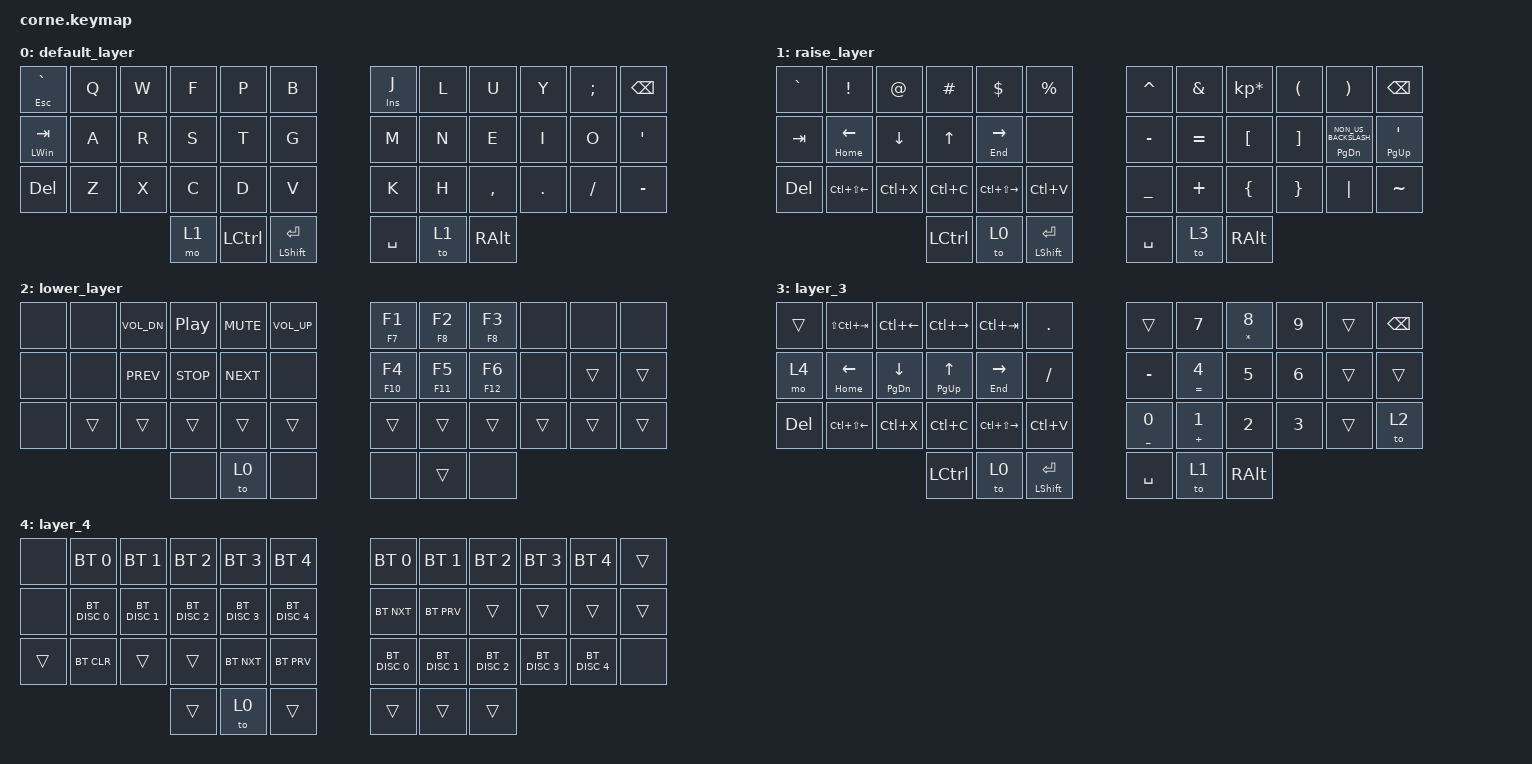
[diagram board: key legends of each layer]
/*
 * Copyright (c) 2020 The ZMK Contributors
 *
 * SPDX-License-Identifier: MIT
 */

#include <behaviors.dtsi>
#include <dt-bindings/zmk/bt.h>
#include <dt-bindings/zmk/keys.h>

&mt { flavor = "tap-preferred"; };

/ {
    behaviors {
        td: td {
            compatible = "zmk,behavior-hold-tap";
            label = "TAPDANCE";
            bindings = <&kp>, <&kp>;

            #binding-cells = <2>;
            tapping-term-ms = <150>;
            flavor = "tap-preferred";
            quick-tap-ms = <0>;
        };
    };

    keymap {
        compatible = "zmk,keymap";

        default_layer {
            // -----------------------------------------------------------------------------------------
            // |  TAB |  Q  |  W  |  E  |  R  |  T  |   |  Y  |  U   |  I  |  O  |  P  | BKSP |
            // | CTRL |  A  |  S  |  D  |  F  |  G  |   |  H  |  J   |  K  |  L  |  ;  |  '   |
            // | SHFT |  Z  |  X  |  C  |  V  |  B  |   |  N  |  M   |  ,  |  .  |  /  | ESC  |
            //                    | GUI | LWR | SPC |   | ENT | RSE  | ALT |

            bindings = <
&mt ESCAPE GRAVE  &kp Q  &kp W  &kp F  &kp P      &kp B               &mt INS J  &kp L  &kp U      &kp Y    &kp SEMICOLON  &kp BSPC
&mt LEFT_WIN TAB  &kp A  &kp R  &kp S  &kp T      &kp G               &kp M      &kp N  &kp E      &kp I    &kp O          &kp SQT
&kp DELETE        &kp Z  &kp X  &kp C  &kp D      &kp V               &kp K      &kp H  &kp COMMA  &kp DOT  &kp FSLH       &kp MINUS
                                &mo 1  &kp LCTRL  &mt LSHIFT ENTER    &kp SPACE  &to 1  &kp RALT
            >;
        };

        raise_layer {
            // -----------------------------------------------------------------------------------------
            // |  TAB |  !  |  @  |  #  |  $  |  %  |   |  ^  |  &  |  *  |  (  |  )  | BKSP |
            // | CTRL |     |     |     |     |     |   |  -  |  =  |  [  |  ]  |  \  |  `   |
            // | SHFT |     |     |     |     |     |   |  _  |  +  |  {  |  }  | "|" |  ~   |
            //                    | GUI |     | SPC |   | ENT |     | ALT |

            bindings = <
&kp GRAVE   &kp EXCL             &kp AT          &kp HASH      &kp DLLR           &kp PRCNT               &kp CARET  &kp AMPS   &kp KP_MULTIPLY  &kp LPAR  &kp RPAR                        &kp BSPC
&kp TAB     &mt HOME LEFT_ARROW  &kp DOWN_ARROW  &kp UP_ARROW  &mt END RIGHT      &none                   &kp MINUS  &kp EQUAL  &kp LBKT         &kp RBKT  &mt PAGE_DOWN NON_US_BACKSLASH  &mt PAGE_UP SINGLE_QUOTE
&kp DELETE  &kp LC(LS(LEFT))     &kp LC(X)       &kp LC(C)     &kp LC(LS(RIGHT))  &kp LC(V)               &kp UNDER  &kp PLUS   &kp LBRC         &kp RBRC  &kp PIPE                        &kp TILDE
                                                 &kp LCTRL     &to 0              &mt LEFT_SHIFT ENTER    &kp SPACE  &to 3      &kp RALT
            >;
        };

        lower_layer {
            // -----------------------------------------------------------------------------------------
            // |  TAB |  1  |  2  |  3  |  4  |  5  |   |  6  |  7  |  8  |  9  |  0  | BKSP |
            // | BTCLR| BT1 | BT2 | BT3 | BT4 | BT5 |   | LFT | DWN |  UP | RGT |     |      |
            // | SHFT |     |     |     |     |     |   |     |     |     |     |     |      |
            //                    | GUI |     | SPC |   | ENT |     | ALT |

            bindings = <
&none  &none   &kp C_VOL_DN  &kp C_PP    &kp C_MUTE  &kp C_VOL_UP    &mt F7 F1   &mt F8 F2   &mt F8 F3   &none   &none   &none
&none  &none   &kp C_PREV    &kp C_STOP  &kp C_NEXT  &none           &mt F10 F4  &mt F11 F5  &mt F12 F6  &none   &trans  &trans
&none  &trans  &trans        &trans      &trans      &trans          &trans      &trans      &trans      &trans  &trans  &trans
                             &none       &to 0       &none           &none       &trans      &none
            >;
        };

        layer_3 {
            bindings = <
&trans      &kp LS(LC(TAB))         &kp LC(LEFT)              &kp LC(RIGHT)         &kp LC(TAB)        &kp PERIOD              &trans        &kp NUMBER_7        &mt ASTERISK N8  &kp NUMBER_9  &trans  &kp BACKSPACE
&mo 4       &mt HOME LEFT           &mt PAGE_DOWN DOWN_ARROW  &mt PAGE_UP UP_ARROW  &mt END RIGHT      &kp SLASH               &kp MINUS     &mt EQUAL NUMBER_4  &kp N5           &kp NUMBER_6  &trans  &trans
&kp DELETE  &kp LC(LS(LEFT_ARROW))  &kp LC(X)                 &kp LC(C)             &kp LC(LS(RIGHT))  &kp LC(V)               &mt UNDER N0  &mt PLUS NUMBER_1   &kp NUMBER_2     &kp NUMBER_3  &trans  &to 2
                                                              &kp LCTRL             &to 0              &mt LEFT_SHIFT ENTER    &kp SPACE     &to 1               &kp RALT
            >;
        };

        layer_4 {
            bindings = <
&none   &bt BT_SEL 0   &bt BT_SEL 1   &bt BT_SEL 2   &bt BT_SEL 3   &bt BT_SEL 4     &bt BT_SEL 0   &bt BT_SEL 1   &bt BT_SEL 2   &bt BT_SEL 3   &bt BT_SEL 4   &trans
&none   &bt BT_DISC 0  &bt BT_DISC 1  &bt BT_DISC 2  &bt BT_DISC 3  &bt BT_DISC 4    &bt BT_NXT     &bt BT_PRV     &trans         &trans         &trans         &trans
&trans  &bt BT_CLR     &trans         &trans         &bt BT_NXT     &bt BT_PRV       &bt BT_DISC 0  &bt BT_DISC 1  &bt BT_DISC 2  &bt BT_DISC 3  &bt BT_DISC 4  &none
                                      &trans         &to 0          &trans           &trans         &trans         &trans
            >;
        };
    };
};
